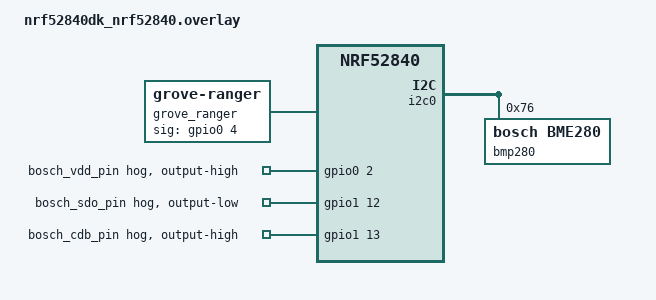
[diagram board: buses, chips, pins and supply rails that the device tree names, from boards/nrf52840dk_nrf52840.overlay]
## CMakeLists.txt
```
# This file is used by the build system to find sources you want to compile.

# Add our DTS folders, so Zephyr can discover them.
list(APPEND DTS_ROOT ${CMAKE_CURRENT_SOURCE_DIR})

# Some basic setup stuff. We won't go into great detail.
cmake_minimum_required(VERSION 3.20.0)
find_package(Zephyr REQUIRED HINTS $ENV{ZEPHYR_BASE})
project(NONE)

target_sources(app PRIVATE
    src/main.c
    # Other source files go here
    src/comm.c
    src/env_reading.c
    src/hmi.c
    )

# Add everything under include/ to the include path.
zephyr_include_directories(include)

# Enable more warnings
target_compile_options(app PRIVATE -Wall -Wextra)
```

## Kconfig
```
# Adjust the values as needed

config COMM_THREAD_STACK_SIZE
    int "Stack size for comm thread."
    default 4096

config COMM_THREAD_PRIO
    int "Priority for the communication thread."
    default 4

config ENV_THREAD_STACK_SIZE
    int "Stack size for env reading thread."
    default 1024

config ENV_THREAD_PRIO
    int "Priority for the environment reading thread."
    default 4

# This needs to be in our toplevel Kconfig so Zephyr can find all the symbols.
menu "Zephyr Kernel"
source "Kconfig.zephyr"
endmenu
```

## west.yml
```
manifest:
  version: "0.13"

  remotes:
    - name: ncs
      url-base: https://github.com/nrfconnect

  defaults:
    remote: ncs

  projects:
    - name: nrf
      repo-path: sdk-nrf
      revision: v3.2.4
      path: nrf
      import: true

  self:
    path: app
```

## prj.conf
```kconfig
# Adjust as needed.

# Logging
CONFIG_LOG=y
CONFIG_LOG_BACKEND_UART=y

# Sensors
CONFIG_SENSOR=y

# BLE
# Some ergonomics for threads
CONFIG_THREAD_NAME=y

# ZBUS configuration
CONFIG_ZBUS=y
CONFIG_ZBUS_MSG_SUBSCRIBER=y
CONFIG_ZBUS_CHANNEL_NAME=y
CONFIG_ZBUS_OBSERVER_NAME=y

# BLE configuration
CONFIG_BT=y
CONFIG_BT_PERIPHERAL=y
CONFIG_BT_DEVICE_NAME="HKA IoT"
```

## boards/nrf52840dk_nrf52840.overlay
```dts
/ {
    grove_ranger: grove_ranger {
        compatible = "grove-ranger";
        status = "okay";
        sig-gpios = <&gpio0 4 GPIO_ACTIVE_HIGH>;
    };
};

&i2c0 {
    status = "okay";
        bmp280: bmp280@76 {
            compatible = "bosch,bme280";
            reg = <0x76>;
        };
};

/* Define GPIO Hogs like this */
&gpio0 {
    status = "okay";

    bosch_vdd_pin {
        gpio-hog;
        output-high;
        gpios = <2 GPIO_ACTIVE_HIGH>;
    };
};

&gpio1 {
    status = "okay";

    bosch_sdo_pin {
        gpio-hog;
        output-low;
        gpios = <12 GPIO_ACTIVE_HIGH>;
    };

    bosch_cdb_pin {
        gpio-hog;
        output-high;
        gpios = <13 GPIO_ACTIVE_HIGH>;
    };
};

/* Reconfigure the I2C pins for the BOSCH BMP280 sensor */
&pinctrl {
    i2c0_default: i2c0_default {
        group1 {
            psels = <NRF_PSEL(TWIM_SDA, 1, 14)>,
                <NRF_PSEL(TWIM_SCL, 1, 15)>;
        };
    };

    i2c0_sleep: i2c0_sleep {
        group1 {
            psels = <NRF_PSEL(TWIM_SDA, 1, 14)>,
                <NRF_PSEL(TWIM_SCL, 1, 15)>;
            low-power-enable;
        };
    };
};
```

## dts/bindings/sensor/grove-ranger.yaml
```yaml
description: Grove ultrasonic ranger.

compatible: "grove-ranger"

include: sensor-device.yaml

properties:
  sig-gpios:
    type: phandle-array
    required: true
    description: |
      Combined trigger and echo pin.
```

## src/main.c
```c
#include <zephyr/kernel.h>
#include <zephyr/logging/log.h>

LOG_MODULE_REGISTER(main, CONFIG_LOG_DEFAULT_LEVEL);

// This should be moved somewhere else...
const struct device *ultrasonic_sensor = DEVICE_DT_GET(DT_NODELABEL(grove_ranger));

int main(void)
{
    // Think about what can go into main and what you might put somewhere else.
    return 0;
}
```

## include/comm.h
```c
// Place for your communication APIs.

#ifndef COMM_H
#define COMM_H

#include <zephyr/kernel.h>

// In case you might need it...
// #include <zephyr/zbus/zbus.h>

#endif
```

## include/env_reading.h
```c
// Place for your environment sensor APIs.

#ifndef ENV_H
#define ENV_H

#include <zephyr/kernel.h>

// In case you might need it...
// #include <zephyr/zbus/zbus.h>

#endif
```

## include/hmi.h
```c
// Place for your environment HMI API.

#ifndef HMI_H
#define HMI_H

#include <zephyr/kernel.h>

// In case you might need it...
// #include <zephyr/zbus/zbus.h>

#endif
```

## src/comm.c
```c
// Module for your environmental sensor.

#include "comm.h"
// Maybe other includes as well?

#include <zephyr/bluetooth/bluetooth.h>
#include <zephyr/bluetooth/conn.h>
#include <zephyr/bluetooth/gatt.h>
#include <zephyr/bluetooth/uuid.h>
#include <zephyr/kernel.h>
#include <zephyr/logging/log.h>

LOG_MODULE_REGISTER(comm, CONFIG_LOG_DEFAULT_LEVEL);

static void comm_loop(void *a1, void *a2, void *a3);
K_THREAD_DEFINE(comm_thread, CONFIG_COMM_THREAD_STACK_SIZE, comm_loop, NULL, NULL, NULL,
                CONFIG_COMM_THREAD_PRIO, 0, 0);

// Maybe some ZBUS channels? ;)

static void comm_loop(__maybe_unused void *a1, __maybe_unused void *a2, __maybe_unused void *a3)
{
    for (;;) {
    }
}
```

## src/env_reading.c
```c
// Module for your environmental sensor.

#include "env_reading.h"

#include <zephyr/device.h>
#include <zephyr/drivers/sensor.h>
#include <zephyr/kernel.h>
#include <zephyr/logging/log.h>

LOG_MODULE_REGISTER(env, CONFIG_LOG_DEFAULT_LEVEL);

static void env_loop(void *a1, void *a2, void *a3);
K_THREAD_DEFINE(env_thread, CONFIG_ENV_THREAD_STACK_SIZE, env_loop, NULL, NULL, NULL,
                CONFIG_ENV_THREAD_PRIO, 0, 0);

const struct device *env_sensor = DEVICE_DT_GET(DT_NODELABEL(bmp280));

// Maybe some ZBUS channels? ;)

static void env_loop(__maybe_unused void *a1, __maybe_unused void *a2, __maybe_unused void *a3)
{
    for (;;) {
    }
}
```

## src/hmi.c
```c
// HMI module for buttons and LEDs.

#include <zephyr/drivers/gpio.h>
#include <zephyr/logging/log.h>

LOG_MODULE_REGISTER(hmi, CONFIG_LOG_DEFAULT_LEVEL);

// LED nodes
static const struct gpio_dt_spec led0 = GPIO_DT_SPEC_GET(DT_ALIAS(led0), gpios);
static const struct gpio_dt_spec led1 = GPIO_DT_SPEC_GET(DT_ALIAS(led1), gpios);
static const struct gpio_dt_spec led2 = GPIO_DT_SPEC_GET(DT_ALIAS(led2), gpios);
static const struct gpio_dt_spec led3 = GPIO_DT_SPEC_GET(DT_ALIAS(led3), gpios);

// Butttons
static const struct gpio_dt_spec button0 = GPIO_DT_SPEC_GET(DT_ALIAS(sw0), gpios);
static const struct gpio_dt_spec button1 = GPIO_DT_SPEC_GET(DT_ALIAS(sw1), gpios);
static const struct gpio_dt_spec button2 = GPIO_DT_SPEC_GET(DT_ALIAS(sw2), gpios);
static const struct gpio_dt_spec button3 = GPIO_DT_SPEC_GET(DT_ALIAS(sw3), gpios);
```
